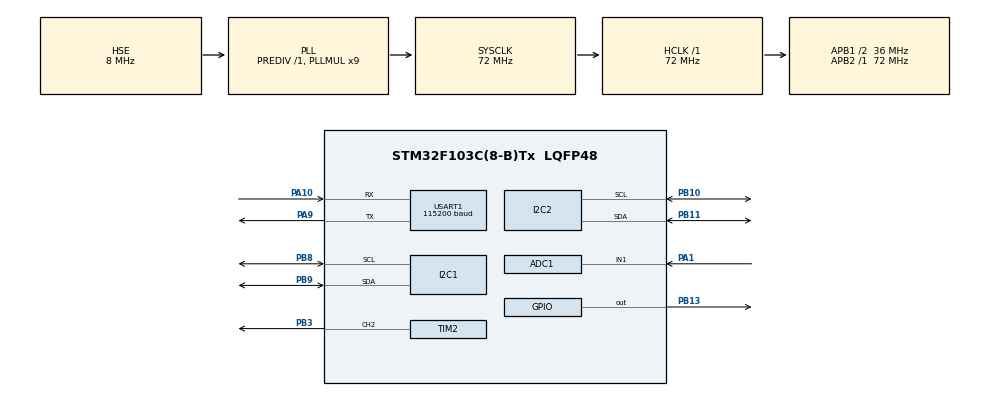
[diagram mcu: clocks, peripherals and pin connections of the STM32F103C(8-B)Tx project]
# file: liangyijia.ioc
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ADC1.Channel-2\#ChannelRegularConversion=ADC_CHANNEL_1
ADC1.NbrOfConversionFlag=1
ADC1.Rank-2\#ChannelRegularConversion=1
ADC1.SamplingTime-2\#ChannelRegularConversion=ADC_SAMPLETIME_1CYCLE_5
ADC1.master=1
Mcu.Family=STM32F1
Mcu.Name=STM32F103C(8-B)Tx
Mcu.Package=LQFP48
NVIC.PriorityGroup=NVIC_PRIORITYGROUP_4
NVIC.USART1_IRQn=true\:1\:0\:true\:false\:true\:true\:true\:true
PA1.Signal=ADCx_IN1
PA10.Mode=Asynchronous
PA10.Signal=USART1_RX
PA13.Mode=Serial_Wire
PA13.Signal=SYS_JTMS-SWDIO
PA14.Mode=Serial_Wire
PA14.Signal=SYS_JTCK-SWCLK
PA9.Mode=Asynchronous
PA9.Signal=USART1_TX
PB10.Mode=I2C
PB10.Signal=I2C2_SCL
PB11.Mode=I2C
PB11.Signal=I2C2_SDA
PB13.GPIO_ModeDefaultOutputPP=GPIO_MODE_OUTPUT_PP
PB13.GPIO_PuPd=GPIO_PULLUP
PB13.GPIO_Speed=GPIO_SPEED_FREQ_HIGH
PB13.Signal=GPIO_Output
PB3.Signal=S_TIM2_CH2
PB8.Mode=I2C
PB8.Signal=I2C1_SCL
PB9.Mode=I2C
PB9.Signal=I2C1_SDA
PD0-OSC_IN.Mode=HSE-External-Oscillator
PD0-OSC_IN.Signal=RCC_OSC_IN
PD1-OSC_OUT.Mode=HSE-External-Oscillator
PD1-OSC_OUT.Signal=RCC_OSC_OUT
ProjectManager.HeapSize=0x200
ProjectManager.StackSize=0x400
ProjectManager.TargetToolchain=MDK-ARM V5.32
RCC.ADCPresc=RCC_ADCPCLK2_DIV6
RCC.AHBFreq_Value=72000000
RCC.APB1CLKDivider=RCC_HCLK_DIV2
RCC.APB1Freq_Value=36000000
RCC.APB1TimFreq_Value=72000000
RCC.APB2Freq_Value=72000000
RCC.APB2TimFreq_Value=72000000
RCC.HCLKFreq_Value=72000000
RCC.PLLMUL=RCC_PLL_MUL9
RCC.PLLSourceVirtual=RCC_PLLSOURCE_HSE
RCC.SYSCLKFreq_VALUE=72000000
RCC.SYSCLKSource=RCC_SYSCLKSOURCE_PLLCLK
RCC.USBFreq_Value=72000000
SH.ADCx_IN1.0=ADC1_IN1,IN1
SH.S_TIM2_CH2.0=TIM2_CH2,PWM Generation2 CH2
TIM1.Prescaler=71
TIM2.Channel-PWM\ Generation2\ CH2=TIM_CHANNEL_2
TIM2.Period=1999
TIM2.Prescaler=719
TIM2.Pulse-PWM\ Generation2\ CH2=0
USART1.BaudRate=115200
USART1.VirtualMode=VM_ASYNC
VP_TIM1_VS_ClockSourceINT.Mode=Internal
VP_TIM2_VS_ClockSourceINT.Mode=Internal
board=custom

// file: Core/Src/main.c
/* USER CODE BEGIN Header */
/**
 ******************************************************************************
 * @file           : main.c
 * @brief          : Main program body
 ******************************************************************************
 * @attention
 *
 * Copyright (c) 2025 STMicroelectronics.
 * All rights reserved.
 *
 * This software is licensed under terms that can be found in the LICENSE file
 * in the root directory of this software component.
 * If no LICENSE file comes with this software, it is provided AS-IS.
 *
 ******************************************************************************
 */
/* USER CODE END Header */
#include "main.h"
#include "adc.h"
#include "i2c.h"
#include "tim.h"
#include "usart.h"
#include "gpio.h"

/* USER CODE BEGIN Includes */
#include "oled.h"
#include "app.h"
#include "bh1750.h"
#include "dht11.h"

/* USER CODE END Includes */

void SystemClock_Config(void);

/* USER CODE BEGIN 0 */
extern uint8_t g_temperature;        // 温度�? (°C)
extern uint8_t g_humidity;           // 湿度�? (%)
extern uint16_t g_light_intensity;   // 光照强度�? (lux)
extern uint16_t g_rain_level;        // 雨量大小 (0-4095)
extern uint8_t g_clothesline_status; // 晾衣架状�? (0=收缩, 1=伸展)

/* USER CODE END 0 */

int main(void)
{

  /* MCU Configuration--------------------------------------------------------*/

  /* Reset of all peripherals, Initializes the Flash interface and the Systick. */
  HAL_Init();

  /* Configure the system clock */
  SystemClock_Config();

  /* Initialize all configured peripherals */
  MX_GPIO_Init();
  MX_ADC1_Init();
  MX_I2C2_Init();
  MX_USART1_UART_Init();
  MX_TIM1_Init();
  MX_TIM2_Init();
  MX_I2C1_Init();
  /* USER CODE BEGIN 2 */
  OLED_Init();                              // 初始化OLED
  OLED_Clear();                             // 清屏
  OLED_ShowString(0, 0, "Starting", 16, 0); // 显示启动信息
  HAL_Delay(500);
  BH1750_Init(); // 初始化BH1750光照传感�?
  HAL_Delay(100);
  HAL_TIM_PWM_Start(&htim2, TIM_CHANNEL_2); // 启动TIM2的PWM输出用于舵机控制
  extern uint8_t RxBuffer[1];
  HAL_UART_Receive_IT(&huart1, RxBuffer, 1); // 启动UART接收中断，准备接收ESP32的单字节控制指令
  HAL_ADCEx_Calibration_Start(&hadc1);

  /* USER CODE END 2 */

  /* Infinite loop */
  while (1)
  {

    /* USER CODE BEGIN 3 */

    // 获取所有传感器数据
    App_UpdateSensorData();

    // 智能晾衣架控制 - 根据天气自动控制晾衣架
    App_SmartClotheslineControl();

    // 发布传感器数据到ESP32
    App_SendSensorData(g_temperature, g_humidity, g_light_intensity, g_clothesline_status);

    // 显示传感器数据到OLED
    App_DisplaySensorData();

    HAL_Delay(1000);
  }
  /* USER CODE END 3 */
}

void SystemClock_Config(void)
{
  RCC_OscInitTypeDef RCC_OscInitStruct = {0};
  RCC_ClkInitTypeDef RCC_ClkInitStruct = {0};
  RCC_PeriphCLKInitTypeDef PeriphClkInit = {0};

  /** Initializes the RCC Oscillators according to the specified parameters
   * in the RCC_OscInitTypeDef structure.
   */
  RCC_OscInitStruct.OscillatorType = RCC_OSCILLATORTYPE_HSE;
  RCC_OscInitStruct.HSEState = RCC_HSE_ON;
  RCC_OscInitStruct.HSEPredivValue = RCC_HSE_PREDIV_DIV1;
  RCC_OscInitStruct.HSIState = RCC_HSI_ON;
  RCC_OscInitStruct.PLL.PLLState = RCC_PLL_ON;
  RCC_OscInitStruct.PLL.PLLSource = RCC_PLLSOURCE_HSE;
  RCC_OscInitStruct.PLL.PLLMUL = RCC_PLL_MUL9;
  if (HAL_RCC_OscConfig(&RCC_OscInitStruct) != HAL_OK)
  {
    Error_Handler();
  }

  /** Initializes the CPU, AHB and APB buses clocks
   */
  RCC_ClkInitStruct.ClockType = RCC_CLOCKTYPE_HCLK | RCC_CLOCKTYPE_SYSCLK | RCC_CLOCKTYPE_PCLK1 | RCC_CLOCKTYPE_PCLK2;
  RCC_ClkInitStruct.SYSCLKSource = RCC_SYSCLKSOURCE_PLLCLK;
  RCC_ClkInitStruct.AHBCLKDivider = RCC_SYSCLK_DIV1;
  RCC_ClkInitStruct.APB1CLKDivider = RCC_HCLK_DIV2;
  RCC_ClkInitStruct.APB2CLKDivider = RCC_HCLK_DIV1;

  if (HAL_RCC_ClockConfig(&RCC_ClkInitStruct, FLASH_LATENCY_2) != HAL_OK)
  {
    Error_Handler();
  }
  PeriphClkInit.PeriphClockSelection = RCC_PERIPHCLK_ADC;
  PeriphClkInit.AdcClockSelection = RCC_ADCPCLK2_DIV6;
  if (HAL_RCCEx_PeriphCLKConfig(&PeriphClkInit) != HAL_OK)
  {
    Error_Handler();
  }
}

void Error_Handler(void)
{
  __disable_irq();
  while (1)
  {
  }
}
